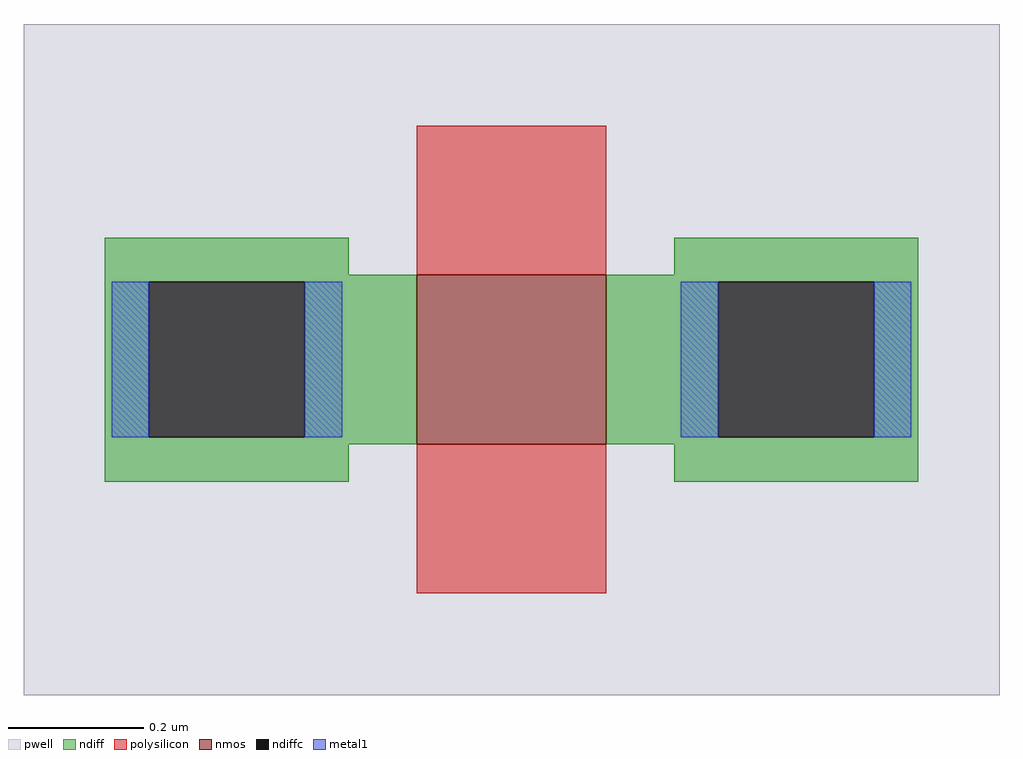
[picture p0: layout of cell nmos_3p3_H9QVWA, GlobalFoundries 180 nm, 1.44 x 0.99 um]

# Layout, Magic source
magic
tech gf180mcuC
magscale 1 10
<< pwell >>
rect -144 -99 144 99
<< nmos >>
rect -28 -25 28 25
<< ndiff >>
rect -120 25 -48 36
rect 48 25 120 36
rect -120 23 -28 25
rect -120 -23 -107 23
rect -61 -23 -28 23
rect -120 -25 -28 -23
rect 28 23 120 25
rect 28 -23 61 23
rect 107 -23 120 23
rect 28 -25 120 -23
rect -120 -36 -48 -25
rect 48 -36 120 -25
<< ndiffc >>
rect -107 -23 -61 23
rect 61 -23 107 23
<< polysilicon >>
rect -28 25 28 69
rect -28 -69 28 -25
<< metal1 >>
rect -118 -23 -107 23
rect -61 -23 -50 23
rect 50 -23 61 23
rect 107 -23 118 23
<< properties >>
string gencell nmos_3p3
string library gf180mcu
string parameters w 0.250 l 0.280 m 1 nf 1 diffcov 100 polycov 100 guard 0 glc 0 grc 0 gtc 0 gbc 0 tbcov 100 rlcov 100 topc 0 botc 0 poverlap 0 doverlap 1 lmin 0.28 wmin 0.22 full_metal 0 compatible {nmos_3p3 nmos_6p0 nmos_6p0_nat}
<< end >>
